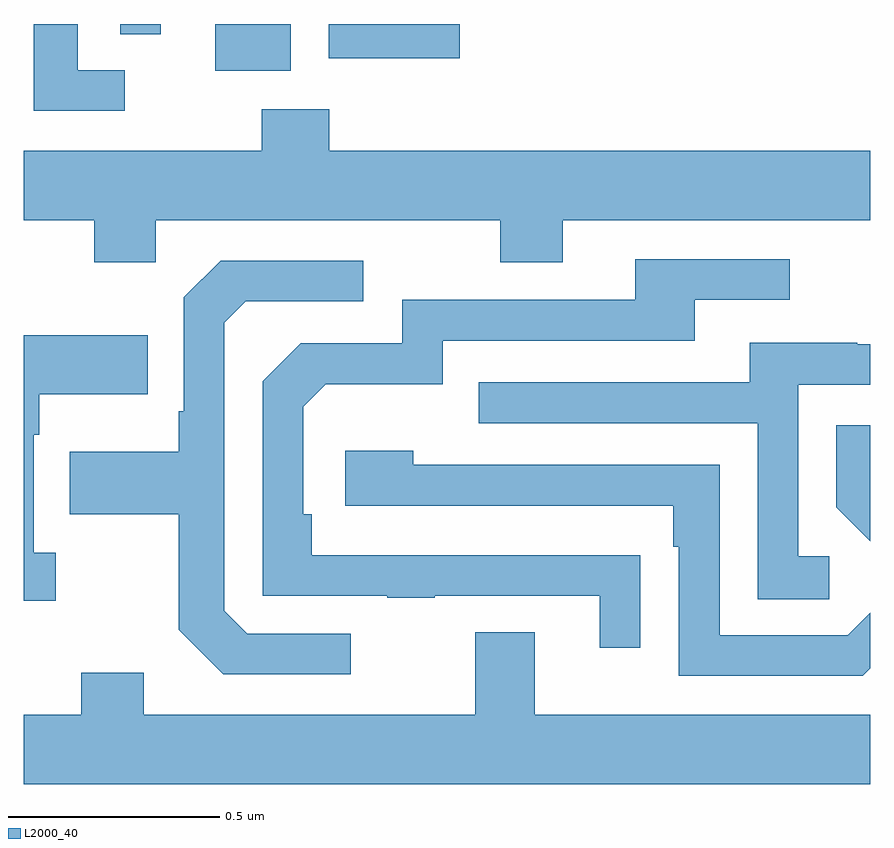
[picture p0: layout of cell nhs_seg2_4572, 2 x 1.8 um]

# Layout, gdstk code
import gdstk
lib = gdstk.Library(unit=1e-6, precision=1e-09)
def R(c, l, rs):  # rectangles x0, y0, x1, y1
    for r in rs: c.add(gdstk.rectangle(r[:2], r[2:], *l))
def P(c, l, *ps):  # polygons
    for p in ps: c.add(gdstk.Polygon(p, *l))
L2000_40 = (2000, 40)

nhs_seg2_4572 = lib.new_cell('nhs_seg2_4572')
R(nhs_seg2_4572, L2000_40, [(168.452,614.69,168.631,614.8), (168.72,614.719,169.03,614.8), (168.228,614.776,168.324,614.8)])
P(nhs_seg2_4572, L2000_40, [(168.238,614.691),(168.127,614.691),(168.127,614.8),(168.023,614.8),(168.023,614.595),(168.238,614.595)],
  [(168.312,614.336),(169.126,614.336),(169.126,614.237),(169.273,614.237),(169.273,614.336),(170,614.336),(170,614.5),(168.722,614.5),(168.722,614.599),(168.562,614.599),(168.562,614.5),(168,614.5),(168,614.336),(168.166,614.336),(168.166,614.237),(168.312,614.237)],
  [(169.457,613.544),(169.355,613.544),(169.355,613.545),(168.68,613.545),(168.68,613.642),(168.66,613.642),(168.66,613.896),(168.713,613.949),(168.99,613.949),(168.99,614.052),(169.585,614.052),(169.585,614.148),(169.81,614.148),(169.81,614.244),(169.445,614.244),(169.445,614.148),(168.894,614.148),(168.894,614.046),(168.654,614.046),(168.564,613.956),(168.564,613.449),(168.859,613.449),(168.859,613.444),(168.971,613.444),(168.971,613.449),(169.361,613.449),(169.361,613.326),(169.457,613.326)],
  [(168.772,613.359),(168.528,613.359),(168.474,613.413),(168.474,614.094),(168.525,614.145),(168.802,614.145),(168.802,614.241),(168.465,614.241),(168.378,614.154),(168.378,613.885),(168.366,613.885),(168.366,613.789),(168.109,613.789),(168.109,613.642),(168.366,613.642),(168.366,613.369),(168.471,613.263),(168.772,613.263)],
  [(168.076,613.55),(168.024,613.55),(168.024,613.829),(168.037,613.829),(168.037,613.925),(168.293,613.925),(168.293,614.065),(168,614.065),(168,613.437),(168.076,613.437)],
  [(169.903,613.542),(169.83,613.542),(169.83,613.947),(170,613.947),(170,614.043),(169.969,614.043),(169.969,614.047),(169.715,614.047),(169.715,613.953),(169.075,613.953),(169.075,613.857),(169.734,613.857),(169.734,613.441),(169.903,613.441)],
  [(170,613.852),(169.92,613.852),(169.92,613.658),(170,613.578)],
  [(170,613.277),(170,613.409),(169.947,613.356),(169.644,613.356),(169.644,613.758),(168.92,613.758),(168.92,613.792),(168.759,613.792),(168.759,613.662),(169.535,613.662),(169.535,613.565),(169.548,613.565),(169.548,613.26),(169.983,613.26)],
  [(170,613.168),(169.207,613.168),(169.207,613.363),(169.067,613.363),(169.067,613.168),(168.283,613.168),(168.283,613.267),(168.136,613.267),(168.136,613.168),(168,613.168),(168,613.004),(170,613.004)])

lib.write_gds('nhs_seg2_4572.gds')
